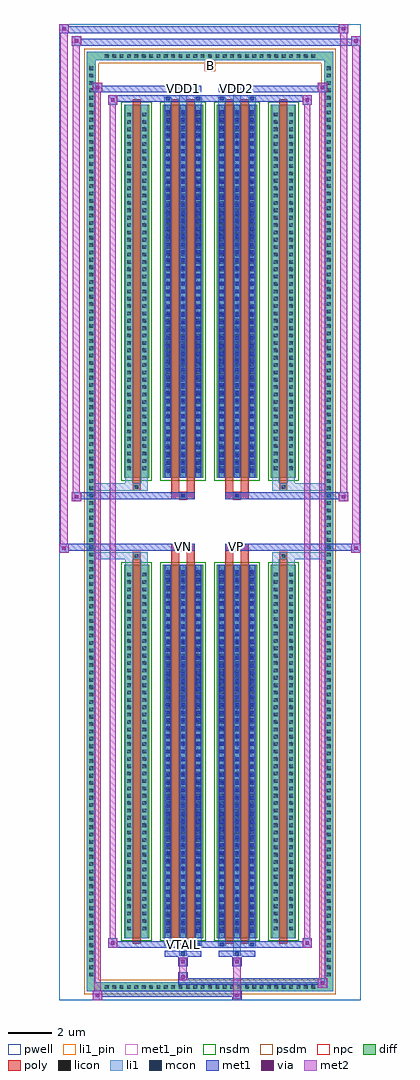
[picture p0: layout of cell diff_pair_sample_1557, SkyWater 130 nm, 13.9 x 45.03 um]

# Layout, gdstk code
import gdstk
lib = gdstk.Library(unit=1e-6, precision=5e-09)
def R(c, l, rs):  # rectangles x0, y0, x1, y1
    for r in rs: c.add(gdstk.rectangle(r[:2], r[2:], *l))
def A(c, l, x, y, w, h, nx, ny, dx, dy):  # array of equal rectangles
    R(c, l, [(x+i*dx, y+j*dy, x+i*dx+w, y+j*dy+h) for i in range(nx) for j in range(ny)])
def P(c, l, *ps):  # polygons
    for p in ps: c.add(gdstk.Polygon(p, *l))
pwell = (64, 44)
diff = (65, 20)
poly = (66, 20)
licon = (66, 44)
li1_pin = (67, 16)
li1 = (67, 20)
mcon = (67, 44)
met1_pin = (68, 16)
met1 = (68, 20)
via = (68, 44)
met2 = (69, 20)
nsdm = (93, 44)
psdm = (94, 20)
npc = (95, 20)

diff_pair_sample_1557 = lib.new_cell('diff_pair_sample_1557')
R(diff_pair_sample_1557, pwell, [(-6.95,-22.08,6.95,22.95), (-4.27,-20.27,-0.01,-0.825), (0.01,-20.27,4.27,-0.825), (-4.27,0.825,-0.01,20.27), (0.01,0.825,4.27,20.27)])
A(diff_pair_sample_1557, diff, -4.965, -21.68, 0.41, 0.41, 29, 2, 0.34, 42.95)
A(diff_pair_sample_1557, diff, -5.68, -21.115, 0.41, 0.41, 1, 124, 0, 0.34)
A(diff_pair_sample_1557, diff, 5.27, -21.115, 0.41, 0.41, 1, 124, 0, 0.34)
R(diff_pair_sample_1557, diff, [(-4.965,-21.68,4.965,-21.27), (-5.68,-21.115,-5.27,21.115), (5.27,-21.115,5.68,21.115), (-3.96,-19.225,-2.81,-2.005), (-2.17,-19.225,-0.32,-2.005), (0.32,-19.225,2.17,-2.005), (2.81,-19.225,3.96,-2.005), (-3.96,2.005,-2.81,19.225), (-2.17,2.005,-0.32,19.225), (0.32,2.005,2.17,19.225), (2.81,2.005,3.96,19.225), (-4.965,21.27,4.965,21.68)])
P(diff_pair_sample_1557, diff, [(5.68,21.68),(-5.68,21.68),(-5.68,-21.27),(-5.27,-21.27),(-5.27,21.27),(5.27,21.27),(5.27,-21.27),(-5.27,-21.27),(-5.68,-21.27),(-5.68,-21.68),(5.68,-21.68)])
R(diff_pair_sample_1557, poly, [(-3.57,-19.475,-3.2,-1.755), (-1.78,-19.475,-1.41,-1.755), (-1.08,-19.475,-0.71,-1.755), (0.71,-19.475,1.08,-1.755), (1.41,-19.475,1.78,-1.755), (3.2,-19.475,3.57,-1.755), (-3.55,-1.755,-3.22,-1.425), (-3.55,-1.755,-3.22,-1.425), (-1.78,-1.755,-1.41,-1.355), (-1.08,-1.755,-0.71,-1.355), (0.71,-1.755,1.08,-1.355), (1.41,-1.755,1.78,-1.355), (3.22,-1.755,3.55,-1.425), (3.22,-1.755,3.55,-1.425), (-1.78,-1.355,-0.71,-1.025), (-1.41,-1.355,-1.08,-1.025), (0.71,-1.355,1.78,-1.025), (1.08,-1.355,1.41,-1.025), (-1.78,1.025,-0.71,1.355), (-1.41,1.025,-1.08,1.355), (0.71,1.025,1.78,1.355), (1.08,1.025,1.41,1.355), (-1.78,1.355,-1.41,1.755), (-1.08,1.355,-0.71,1.755), (0.71,1.355,1.08,1.755), (1.41,1.355,1.78,1.755), (-3.55,1.425,-3.22,1.755), (-3.55,1.425,-3.22,1.755), (3.22,1.425,3.55,1.755), (3.22,1.425,3.55,1.755), (-3.57,1.755,-3.2,19.475), (-1.78,1.755,-1.41,19.475), (-1.08,1.755,-0.71,19.475), (0.71,1.755,1.08,19.475), (1.41,1.755,1.78,19.475), (3.2,1.755,3.57,19.475)])
A(diff_pair_sample_1557, licon, -4.845, -21.56, 0.17, 0.17, 29, 2, 0.34, 42.95)
A(diff_pair_sample_1557, licon, -5.56, -20.995, 0.17, 0.17, 1, 124, 0, 0.34)
A(diff_pair_sample_1557, licon, 5.39, -20.995, 0.17, 0.17, 1, 124, 0, 0.34)
A(diff_pair_sample_1557, licon, -3.82, -18.86, 0.17, 0.17, 1, 49, 0, 0.34)
A(diff_pair_sample_1557, licon, -3.12, -18.86, 0.17, 0.17, 1, 49, 0, 0.34)
A(diff_pair_sample_1557, licon, -2.03, -18.86, 0.17, 0.17, 3, 49, 0.7, 0.34)
A(diff_pair_sample_1557, licon, 0.46, -18.86, 0.17, 0.17, 3, 49, 0.7, 0.34)
A(diff_pair_sample_1557, licon, 2.95, -18.86, 0.17, 0.17, 1, 49, 0, 0.34)
A(diff_pair_sample_1557, licon, 3.65, -18.86, 0.17, 0.17, 1, 49, 0, 0.34)
A(diff_pair_sample_1557, licon, -3.82, 2.37, 0.17, 0.17, 1, 49, 0, 0.34)
A(diff_pair_sample_1557, licon, -3.12, 2.37, 0.17, 0.17, 1, 49, 0, 0.34)
A(diff_pair_sample_1557, licon, -2.03, 2.37, 0.17, 0.17, 3, 49, 0.7, 0.34)
A(diff_pair_sample_1557, licon, 0.46, 2.37, 0.17, 0.17, 3, 49, 0.7, 0.34)
A(diff_pair_sample_1557, licon, 2.95, 2.37, 0.17, 0.17, 1, 49, 0, 0.34)
A(diff_pair_sample_1557, licon, 3.65, 2.37, 0.17, 0.17, 1, 49, 0, 0.34)
R(diff_pair_sample_1557, licon, [(-3.47,-1.675,-3.3,-1.505), (3.3,-1.675,3.47,-1.505), (-1.33,-1.275,-1.16,-1.105), (1.16,-1.275,1.33,-1.105), (-1.33,1.105,-1.16,1.275), (1.16,1.105,1.33,1.275), (-3.47,1.505,-3.3,1.675), (3.3,1.505,3.47,1.675)])
R(diff_pair_sample_1557, li1_pin, [(-0.25,20.77,0.25,21.27)])
A(diff_pair_sample_1557, li1, -4.925, -21.64, 0.33, 0.33, 29, 2, 0.34, 42.95)
A(diff_pair_sample_1557, li1, -5.64, -21.075, 0.33, 0.33, 1, 124, 0, 0.34)
A(diff_pair_sample_1557, li1, 5.31, -21.075, 0.33, 0.33, 1, 124, 0, 0.34)
A(diff_pair_sample_1557, li1, -2.11, -19.225, 0.33, 17.22, 3, 2, 0.7, 21.23)
A(diff_pair_sample_1557, li1, 0.38, -19.225, 0.33, 17.22, 3, 2, 0.7, 21.23)
A(diff_pair_sample_1557, li1, -2.03, -18.98, 0.17, 0.17, 3, 47, 0.7, 0.36)
A(diff_pair_sample_1557, li1, -2.03, -18.98, 0.17, 16.73, 3, 2, 0.7, 21.23)
A(diff_pair_sample_1557, li1, 0.46, -18.98, 0.17, 0.17, 3, 47, 0.7, 0.36)
A(diff_pair_sample_1557, li1, 0.46, -18.98, 0.17, 16.73, 3, 2, 0.7, 21.23)
A(diff_pair_sample_1557, li1, -3.9, -18.94, 0.33, 0.33, 1, 49, 0, 0.34)
A(diff_pair_sample_1557, li1, -3.2, -18.94, 0.33, 0.33, 1, 49, 0, 0.34)
A(diff_pair_sample_1557, li1, -2.11, -18.94, 0.33, 0.33, 3, 49, 0.7, 0.34)
A(diff_pair_sample_1557, li1, 0.38, -18.94, 0.33, 0.33, 3, 49, 0.7, 0.34)
A(diff_pair_sample_1557, li1, 2.87, -18.94, 0.33, 0.33, 1, 49, 0, 0.34)
A(diff_pair_sample_1557, li1, 3.57, -18.94, 0.33, 0.33, 1, 49, 0, 0.34)
A(diff_pair_sample_1557, li1, -2.03, 2.25, 0.17, 0.17, 3, 47, 0.7, 0.36)
A(diff_pair_sample_1557, li1, 0.46, 2.25, 0.17, 0.17, 3, 47, 0.7, 0.36)
A(diff_pair_sample_1557, li1, -3.9, 2.29, 0.33, 0.33, 1, 49, 0, 0.34)
A(diff_pair_sample_1557, li1, -3.2, 2.29, 0.33, 0.33, 1, 49, 0, 0.34)
A(diff_pair_sample_1557, li1, -2.11, 2.29, 0.33, 0.33, 3, 49, 0.7, 0.34)
A(diff_pair_sample_1557, li1, 0.38, 2.29, 0.33, 0.33, 3, 49, 0.7, 0.34)
A(diff_pair_sample_1557, li1, 2.87, 2.29, 0.33, 0.33, 1, 49, 0, 0.34)
A(diff_pair_sample_1557, li1, 3.57, 2.29, 0.33, 0.33, 1, 49, 0, 0.34)
R(diff_pair_sample_1557, li1, [(-5.68,-21.68,-5.27,-21.27), (-5.68,-21.68,-5.27,-21.27), (-5.27,-21.68,5.27,-21.27), (5.27,-21.68,5.68,-21.27), (5.27,-21.68,5.68,-21.27), (-5.68,-21.27,-5.27,21.27), (5.27,-21.27,5.68,21.27), (-1.41,-20.03,-1.08,-19.225), (-1.33,-20.03,-1.16,-19.86), (1.08,-20.03,1.41,-19.225), (1.16,-20.03,1.33,-19.86), (-2.11,-19.6,-1.78,-19.225), (-2.03,-19.6,-1.86,-19.43), (-0.71,-19.6,-0.38,-19.225), (-0.63,-19.6,-0.46,-19.43), (0.38,-19.6,0.71,-19.225), (0.46,-19.6,0.63,-19.43), (1.78,-19.6,2.11,-19.225), (1.86,-19.6,2.03,-19.43), (-3.9,-19.225,-3.57,-2.005), (-3.2,-19.225,-2.87,-2.005), (2.87,-19.225,3.2,-2.005), (3.57,-19.225,3.9,-2.005), (-3.9,-2.005,-3.57,-1.425), (-3.2,-2.005,-2.87,-1.425), (2.87,-2.005,3.2,-1.425), (3.57,-2.005,3.9,-1.425), (-5.68,-1.755,-3.55,-1.425), (-3.9,-1.755,-3.55,-1.425), (-3.55,-1.755,-3.22,-1.425), (-3.22,-1.755,-2.87,-1.425), (2.87,-1.755,3.22,-1.425), (3.22,-1.755,3.55,-1.425), (3.22,-1.755,5.68,-1.425), (3.55,-1.755,3.9,-1.425), (-1.41,-1.355,-1.08,-1.025), (1.08,-1.355,1.41,-1.025), (-1.41,1.025,-1.08,1.355), (1.08,1.025,1.41,1.355), (-5.68,1.425,-3.55,1.755), (-3.9,1.425,-3.55,1.755), (-3.9,1.425,-3.57,2.005), (-3.55,1.425,-3.22,1.755), (-3.22,1.425,-2.87,1.755), (-3.2,1.425,-2.87,2.005), (2.87,1.425,3.22,1.755), (2.87,1.425,3.2,2.005), (3.22,1.425,3.55,1.755), (3.22,1.425,5.68,1.755), (3.55,1.425,3.9,1.755), (3.57,1.425,3.9,2.005), (-3.9,2.005,-3.57,19.225), (-3.2,2.005,-2.87,19.225), (2.87,2.005,3.2,19.225), (3.57,2.005,3.9,19.225), (-2.11,19.225,-1.78,19.6), (-1.41,19.225,-1.08,20.03), (-0.71,19.225,-0.38,19.6), (0.38,19.225,0.71,19.6), (1.08,19.225,1.41,20.03), (1.78,19.225,2.11,19.6), (-2.03,19.43,-1.86,19.6), (-0.63,19.43,-0.46,19.6), (0.46,19.43,0.63,19.6), (1.86,19.43,2.03,19.6), (-1.33,19.86,-1.16,20.03), (1.16,19.86,1.33,20.03), (-5.68,21.27,-5.27,21.68), (-5.68,21.27,-5.27,21.68), (-5.27,21.27,5.27,21.68), (5.27,21.27,5.68,21.68), (5.27,21.27,5.68,21.68)])
A(diff_pair_sample_1557, mcon, -2.03, -18.98, 0.17, 0.17, 3, 47, 0.7, 0.36)
A(diff_pair_sample_1557, mcon, 0.46, -18.98, 0.17, 0.17, 3, 47, 0.7, 0.36)
A(diff_pair_sample_1557, mcon, -2.03, 2.25, 0.17, 0.17, 3, 47, 0.7, 0.36)
A(diff_pair_sample_1557, mcon, 0.46, 2.25, 0.17, 0.17, 3, 47, 0.7, 0.36)
R(diff_pair_sample_1557, mcon, [(-1.33,-20.03,-1.16,-19.86), (1.16,-20.03,1.33,-19.86), (-2.03,-19.6,-1.86,-19.43), (-0.63,-19.6,-0.46,-19.43), (0.46,-19.6,0.63,-19.43), (1.86,-19.6,2.03,-19.43), (-1.33,-1.275,-1.16,-1.105), (1.16,-1.275,1.33,-1.105), (-1.33,1.105,-1.16,1.275), (1.16,1.105,1.33,1.275), (-2.03,19.43,-1.86,19.6), (-0.63,19.43,-0.46,19.6), (0.46,19.43,0.63,19.6), (1.86,19.43,2.03,19.6), (-1.33,19.86,-1.16,20.03), (1.16,19.86,1.33,20.03)])
R(diff_pair_sample_1557, met1_pin, [(-1.38,-19.64,-1.11,-19.37), (-1.38,-1.295,-1.11,-1.025), (1.11,-1.295,1.38,-1.025), (-1.38,19.82,-1.11,20.09), (1.11,19.82,1.38,20.09)])
A(diff_pair_sample_1557, met1, -2.09, -19.225, 0.29, 17.22, 3, 2, 0.7, 21.23)
A(diff_pair_sample_1557, met1, 0.4, -19.225, 0.29, 17.22, 3, 2, 0.7, 21.23)
A(diff_pair_sample_1557, met1, -2.09, -19.04, 0.29, 0.29, 3, 47, 0.7, 0.36)
A(diff_pair_sample_1557, met1, 0.4, -19.04, 0.29, 0.29, 3, 47, 0.7, 0.36)
A(diff_pair_sample_1557, met1, -2.09, 2.19, 0.29, 0.29, 3, 47, 0.7, 0.36)
A(diff_pair_sample_1557, met1, 0.4, 2.19, 0.29, 0.29, 3, 47, 0.7, 0.36)
R(diff_pair_sample_1557, met1, [(-5.41,-22.08,-4.98,-21.65), (1.03,-22.08,1.46,-21.65), (-5.41,-21.94,1.46,-21.65), (4.98,-21.51,5.41,-21.08), (-1.46,-21.37,5.41,-21.08), (-1.46,-21.23,-1.03,-20.8), (-1.46,-20.52,-1.03,-20.09), (1.03,-20.52,1.46,-20.09), (-2.09,-20.09,-0.4,-19.8), (-1.39,-20.09,-1.1,-19.8), (0.4,-20.09,2.09,-19.8), (1.1,-20.09,1.39,-19.8), (-4.7,-19.66,-4.27,-19.23), (-4.7,-19.66,-2.09,-19.37), (-2.09,-19.66,-1.8,-19.37), (-2.09,-19.66,-0.4,-19.37), (-0.69,-19.66,-0.4,-19.37), (-0.4,-19.66,0.4,-19.37), (0.4,-19.66,0.69,-19.37), (0.4,-19.66,2.09,-19.37), (1.8,-19.66,2.09,-19.37), (2.09,-19.66,4.7,-19.37), (4.27,-19.66,4.7,-19.23), (-6.95,-1.455,-6.52,-1.025), (6.52,-1.455,6.95,-1.025), (-6.95,-1.355,-0.71,-1.025), (-1.78,-1.355,-0.71,-1.025), (0.71,-1.355,1.78,-1.025), (0.71,-1.355,6.95,-1.025), (-1.39,-1.335,-1.1,-1.045), (1.1,-1.335,1.39,-1.045), (-6.38,0.925,-5.95,1.355), (5.95,0.925,6.38,1.355), (-6.38,1.025,-1.78,1.355), (-1.78,1.025,-0.71,1.355), (0.71,1.025,1.78,1.355), (1.78,1.025,6.38,1.355), (-1.39,1.045,-1.1,1.335), (1.1,1.045,1.39,1.335), (-4.7,19.23,-4.27,19.66), (4.27,19.23,4.7,19.66), (-4.7,19.37,-2.09,19.66), (-2.09,19.37,-1.8,19.66), (-2.09,19.37,-0.4,19.66), (-0.69,19.37,-0.4,19.66), (-0.4,19.37,0.4,19.66), (0.4,19.37,0.69,19.66), (0.4,19.37,2.09,19.66), (1.8,19.37,2.09,19.66), (2.09,19.37,4.7,19.66), (-5.41,19.8,-4.98,20.23), (-5.41,19.8,-2.09,20.09), (-2.09,19.8,-0.4,20.09), (-1.39,19.8,-1.1,20.09), (0.4,19.8,2.09,20.09), (1.1,19.8,1.39,20.09), (2.09,19.8,5.41,20.09), (4.98,19.8,5.41,20.23), (-6.38,21.95,-5.95,22.38), (-6.38,21.95,-4.27,22.28), (-4.27,21.95,4.27,22.28), (4.27,21.95,6.95,22.28), (6.52,21.95,6.95,22.38), (-6.95,22.52,-6.52,22.95), (-6.95,22.52,-4.27,22.85), (-4.27,22.52,4.27,22.85), (4.27,22.52,6.38,22.85), (5.95,22.52,6.38,22.95)])
R(diff_pair_sample_1557, via, [(-5.27,-21.94,-5.12,-21.79), (1.17,-21.94,1.32,-21.79), (5.12,-21.37,5.27,-21.22), (-1.32,-21.09,-1.17,-20.94), (-1.32,-20.38,-1.17,-20.23), (1.17,-20.38,1.32,-20.23), (-4.56,-19.52,-4.41,-19.37), (4.41,-19.52,4.56,-19.37), (-6.81,-1.315,-6.66,-1.165), (6.66,-1.315,6.81,-1.165), (-6.24,1.065,-6.09,1.215), (6.09,1.065,6.24,1.215), (-4.56,19.37,-4.41,19.52), (4.41,19.37,4.56,19.52), (-5.27,19.94,-5.12,20.09), (5.12,19.94,5.27,20.09), (-6.24,22.09,-6.09,22.24), (6.66,22.09,6.81,22.24), (-6.81,22.66,-6.66,22.81), (6.09,22.66,6.24,22.81)])
R(diff_pair_sample_1557, met2, [(-5.41,-22.08,-4.98,-21.65), (-5.34,-22.08,-5.05,20.23), (-5.05,-22.08,-4.98,-21.65), (-5.36,-22.03,-5.03,-21.7), (1.08,-22.03,1.41,-21.7), (1.08,-21.7,1.41,-20.47), (4.98,-21.51,5.41,-21.08), (5.05,-21.51,5.34,20.23), (5.34,-21.51,5.41,-21.08), (5.03,-21.46,5.36,-21.13), (-1.41,-21.18,-1.08,-20.85), (-1.41,-20.85,-1.08,-20.47), (-1.41,-20.47,-1.08,-20.14), (1.08,-20.47,1.41,-20.14), (-4.7,-19.66,-4.27,-19.23), (-4.63,-19.66,-4.34,19.66), (-4.34,-19.66,-4.27,-19.23), (4.27,-19.66,4.7,-19.23), (4.34,-19.66,4.63,19.66), (4.63,-19.66,4.7,-19.23), (-4.65,-19.61,-4.32,-19.28), (4.32,-19.61,4.65,-19.28), (-6.95,-1.455,-6.52,-1.025), (-6.9,-1.455,-6.57,22.95), (-6.57,-1.455,-6.52,-1.025), (6.52,-1.455,6.95,-1.025), (6.57,-1.455,6.9,22.38), (6.9,-1.455,6.95,-1.025), (-6.9,-1.405,-6.57,-1.075), (6.57,-1.405,6.9,-1.075), (-6.38,0.925,-5.95,1.355), (-6.33,0.925,-6,22.38), (-6,0.925,-5.95,1.355), (5.95,0.925,6.38,1.355), (6,0.925,6.33,22.95), (6.33,0.925,6.38,1.355), (-6.33,0.975,-6,1.305), (6,0.975,6.33,1.305), (-4.7,19.23,-4.27,19.66), (-4.34,19.23,-4.27,19.66), (4.27,19.23,4.7,19.66), (4.63,19.23,4.7,19.66), (-4.65,19.28,-4.32,19.61), (4.32,19.28,4.65,19.61), (-5.41,19.8,-4.98,20.23), (-5.05,19.8,-4.98,20.23), (4.98,19.8,5.41,20.23), (5.34,19.8,5.41,20.23), (-5.36,19.85,-5.03,20.18), (5.03,19.85,5.36,20.18), (-6.38,21.95,-5.95,22.38), (-6,21.95,-5.95,22.38), (6.52,21.95,6.95,22.38), (6.9,21.95,6.95,22.38), (-6.33,22,-6,22.33), (6.57,22,6.9,22.33), (-6.95,22.52,-6.52,22.95), (-6.57,22.52,-6.52,22.95), (5.95,22.52,6.38,22.95), (6.33,22.52,6.38,22.95), (-6.9,22.57,-6.57,22.9), (6,22.57,6.33,22.9)])
R(diff_pair_sample_1557, nsdm, [(-4.09,-19.355,-2.68,-1.875), (-2.3,-19.355,-0.19,-1.875), (0.19,-19.355,2.3,-1.875), (2.68,-19.355,4.09,-1.875), (-4.09,1.875,-2.68,19.355), (-2.3,1.875,-0.19,19.355), (0.19,1.875,2.3,19.355), (2.68,1.875,4.09,19.355)])
P(diff_pair_sample_1557, psdm, [(5.81,21.81),(-5.81,21.81),(-5.81,-21.14),(-5.14,-21.14),(-5.14,21.14),(5.14,21.14),(5.14,-21.14),(-5.14,-21.14),(-5.81,-21.14),(-5.81,-21.81),(5.81,-21.81)])
R(diff_pair_sample_1557, npc, [(-3.57,-1.775,-3.2,-1.405), (3.2,-1.775,3.57,-1.405), (-1.43,-1.375,-1.06,-1.005), (1.06,-1.375,1.43,-1.005), (-1.43,1.005,-1.06,1.375), (1.06,1.005,1.43,1.375), (-3.57,1.405,-3.2,1.775), (3.2,1.405,3.57,1.775)])
diff_pair_sample_1557.add(gdstk.Label('VTAIL', (-1.245,-19.505), layer=68, texttype=5))
diff_pair_sample_1557.add(gdstk.Label('VN', (-1.245,-1.16), layer=68, texttype=5))
diff_pair_sample_1557.add(gdstk.Label('VP', (1.245,-1.16), layer=68, texttype=5))
diff_pair_sample_1557.add(gdstk.Label('B', (0,21.02), layer=67, texttype=5))
diff_pair_sample_1557.add(gdstk.Label('VDD2', (1.245,19.955), layer=68, texttype=5))
diff_pair_sample_1557.add(gdstk.Label('VDD1', (-1.245,19.955), layer=68, texttype=5))

lib.write_gds('diff_pair_sample_1557.gds')
